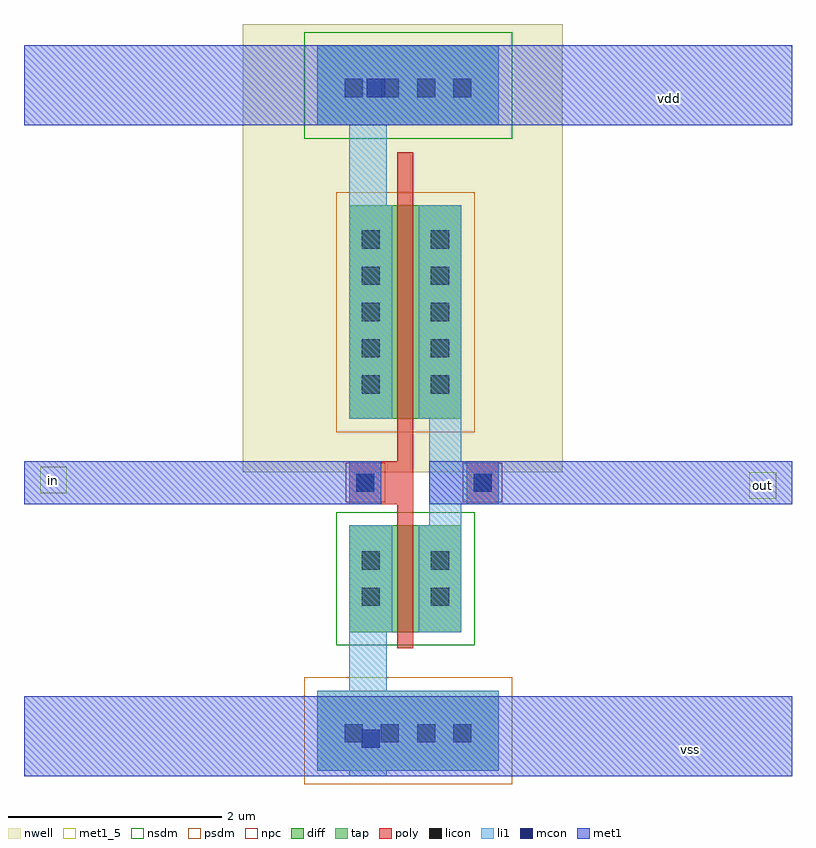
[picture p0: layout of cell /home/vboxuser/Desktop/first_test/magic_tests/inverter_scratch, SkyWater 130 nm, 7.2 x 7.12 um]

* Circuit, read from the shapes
.subckt /home/vboxuser/Desktop/first_test/magic_tests/inverter_scratch in out vdd vss
XM1 out in vss vss sky130_fd_pr__nfet_01v8 w=1 l=0.15
XM2 out in vdd vdd sky130_fd_pr__pfet_01v8 w=2 l=0.15
.ends

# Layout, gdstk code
import gdstk
lib = gdstk.Library(unit=1e-6, precision=1e-09)
def R(c, l, rs):  # rectangles x0, y0, x1, y1
    for r in rs: c.add(gdstk.rectangle(r[:2], r[2:], *l))
def A(c, l, x, y, w, h, nx, ny, dx, dy):  # array of equal rectangles
    R(c, l, [(x+i*dx, y+j*dy, x+i*dx+w, y+j*dy+h) for i in range(nx) for j in range(ny)])
nwell = (64, 20)
diff = (65, 20)
tap = (65, 44)
poly = (66, 20)
licon = (66, 44)
li1 = (67, 20)
mcon = (67, 44)
met1_5 = (68, 5)
met1 = (68, 20)
nsdm = (93, 44)
psdm = (94, 20)
npc = (95, 20)

c__home_vboxuser_desktop_f = lib.new_cell('/home/vboxuser/Desktop/first_test/magic_tests/inverter_scratch')
R(c__home_vboxuser_desktop_f, nwell, [(-1,-1.5,2,2.7)])
R(c__home_vboxuser_desktop_f, diff, [(0,-3,1.05,-2), (0,-1,1.05,1)])
R(c__home_vboxuser_desktop_f, tap, [(-0.3,-4.3,1.4,-3.55), (-0.3,1.75,1.4,2.5)])
R(c__home_vboxuser_desktop_f, poly, [(0.45,-3.15,0.6,-1.8), (0,-1.8,0.6,-1.4), (1.1,-1.8,1.4,-1.4), (0.45,-1.4,0.6,1.5)])
A(c__home_vboxuser_desktop_f, licon, -0.045, -4.035, 0.17, 0.17, 4, 2, 0.34, 6.05)
A(c__home_vboxuser_desktop_f, licon, 0.115, -0.765, 0.17, 0.17, 1, 5, 0, 0.34)
A(c__home_vboxuser_desktop_f, licon, 0.765, -0.765, 0.17, 0.17, 1, 5, 0, 0.34)
R(c__home_vboxuser_desktop_f, licon, [(0.115,-2.755,0.285,-2.585), (0.765,-2.755,0.935,-2.585), (0.115,-2.415,0.285,-2.245), (0.765,-2.415,0.935,-2.245), (0.065,-1.685,0.235,-1.515), (1.165,-1.685,1.335,-1.515)])
R(c__home_vboxuser_desktop_f, li1, [(0,-4.35,0.35,-4.3), (-0.3,-4.3,1.4,-3.55), (0,-3.55,0.35,-3), (0,-3,0.4,-2), (0.65,-3,1.05,-2), (0.75,-2,1.05,-1.8), (0,-1.8,0.3,-1.4), (0.75,-1.8,1.4,-1.4), (0.75,-1.4,1.05,-1), (0,-1,0.4,1), (0.65,-1,1.05,1), (0,1,0.35,1.75), (-0.3,1.75,1.4,2.5)])
R(c__home_vboxuser_desktop_f, mcon, [(0.115,-4.085,0.285,-3.915), (0.065,-1.685,0.235,-1.515), (1.165,-1.685,1.335,-1.515), (0.165,2.015,0.335,2.185)])
R(c__home_vboxuser_desktop_f, met1_5, [(3.75,-1.75,4,-1.5), (-2.9,-1.7,-2.65,-1.45)])
R(c__home_vboxuser_desktop_f, met1, [(-3.05,-4.35,4.15,-3.6), (-3.05,-1.8,0.3,-1.4), (0.75,-1.8,4.15,-1.4), (-3.05,1.75,4.15,2.5)])
R(c__home_vboxuser_desktop_f, nsdm, [(-0.125,-3.125,1.175,-1.875), (-0.425,1.625,1.525,2.625)])
R(c__home_vboxuser_desktop_f, psdm, [(-0.425,-4.425,1.525,-3.425), (-0.125,-1.125,1.175,1.125)])
R(c__home_vboxuser_desktop_f, npc, [(-0.035,-1.785,0.335,-1.415), (1.065,-1.785,1.435,-1.415)])
c__home_vboxuser_desktop_f.add(gdstk.Label('vdd', (3,2), layer=68, texttype=5))
c__home_vboxuser_desktop_f.add(gdstk.Label('vss', (3.2,-4.1), layer=68, texttype=5))
c__home_vboxuser_desktop_f.add(gdstk.Label('out', (3.875,-1.625), layer=68, texttype=5))
c__home_vboxuser_desktop_f.add(gdstk.Label('in', (-2.775,-1.575), layer=68, texttype=5))

lib.write_gds('_home_vboxuser_Desktop_first_test_magic_tests_inverter_scratch.gds')
